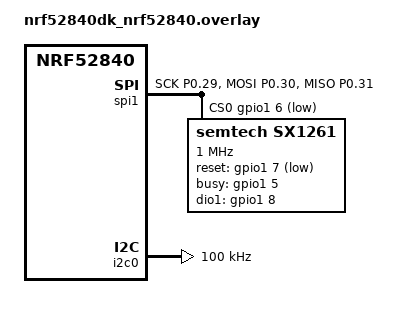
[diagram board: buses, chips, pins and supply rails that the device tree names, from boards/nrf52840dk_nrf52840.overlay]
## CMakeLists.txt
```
# This file is part of the MicroPython project, http://micropython.org/
#
# The MIT License (MIT)
#
# Copyright 2020 NXP
#
# Permission is hereby granted, free of charge, to any person obtaining a copy
# of this software and associated documentation files (the "Software"), to deal
# in the Software without restriction, including without limitation the rights
# to use, copy, modify, merge, publish, distribute, sublicense, and/or sell
# copies of the Software, and to permit persons to whom the Software is
# furnished to do so, subject to the following conditions:
#
# The above copyright notice and this permission notice shall be included in
# all copies or substantial portions of the Software.
#
# THE SOFTWARE IS PROVIDED "AS IS", WITHOUT WARRANTY OF ANY KIND, EXPRESS OR
# IMPLIED, INCLUDING BUT NOT LIMITED TO THE WARRANTIES OF MERCHANTABILITY,
# FITNESS FOR A PARTICULAR PURPOSE AND NONINFRINGEMENT. IN NO EVENT SHALL THE
# AUTHORS OR COPYRIGHT HOLDERS BE LIABLE FOR ANY CLAIM, DAMAGES OR OTHER
# LIABILITY, WHETHER IN AN ACTION OF CONTRACT, TORT OR OTHERWISE, ARISING FROM,
# OUT OF OR IN CONNECTION WITH THE SOFTWARE OR THE USE OR OTHER DEALINGS IN
# THE SOFTWARE.

cmake_minimum_required(VERSION 3.20.0)

find_package(Zephyr REQUIRED HINTS $ENV{ZEPHYR_BASE})
project(micropython)

set(MICROPY_PORT_DIR    ${CMAKE_CURRENT_SOURCE_DIR})
set(MICROPY_DIR         ${MICROPY_PORT_DIR}/../..)
set(MICROPY_TARGET      micropython)

message(MICROPY_PORT_DIR="${CMAKE_CURRENT_SOURCE_DIR}")
message(MICROPY_DIR="${MICROPY_DIR}")
message(ZEPHYR_BASE="$ENV{ZEPHYR_BASE}")
message(CMAKE_CURRENT_BINARY_DIR="${CMAKE_CURRENT_BINARY_DIR}")

include(${MICROPY_DIR}/py/py.cmake)
include(${MICROPY_DIR}/extmod/extmod.cmake)

set(MICROPY_SOURCE_PORT
    main.c
    help.c
    machine_i2c.c
    machine_spi.c
    machine_pin.c
    modbluetooth_zephyr.c
    modsocket.c
    modzephyr.c
    modzsensor.c
    mphalport.c
    uart_core.c
    zephyr_device.c
    zephyr_storage.c
    mpthreadport.c
)
list(TRANSFORM MICROPY_SOURCE_PORT PREPEND ${MICROPY_PORT_DIR}/)

set(MICROPY_SOURCE_SHARED
    libc/printf.c
    readline/readline.c
    runtime/gchelper_generic.c
    runtime/interrupt_char.c
    runtime/mpirq.c
    runtime/pyexec.c
    runtime/stdout_helpers.c
    timeutils/timeutils.c
)
list(TRANSFORM MICROPY_SOURCE_SHARED PREPEND ${MICROPY_DIR}/shared/)

set(MICROPY_SOURCE_LIB
    oofatfs/ff.c
    oofatfs/ffunicode.c
    littlefs/lfs1.c
    littlefs/lfs1_util.c
    littlefs/lfs2.c
    littlefs/lfs2_util.c
)
list(TRANSFORM MICROPY_SOURCE_LIB PREPEND ${MICROPY_DIR}/lib/)

set(MICROPY_SOURCE_QSTR
    ${MICROPY_SOURCE_PY}
    ${MICROPY_SOURCE_EXTMOD}
    ${MICROPY_SOURCE_SHARED}
    ${MICROPY_SOURCE_LIB}
    ${MICROPY_SOURCE_PORT}
)

zephyr_get_include_directories_for_lang(C includes)
zephyr_get_system_include_directories_for_lang(C system_includes)
zephyr_get_compile_definitions_for_lang(C definitions)
zephyr_get_compile_options_for_lang(C options)

zephyr_library_named(${MICROPY_TARGET})

zephyr_library_include_directories(
    ${MICROPY_INC_CORE}
    ${MICROPY_PORT_DIR}
    ${CMAKE_CURRENT_BINARY_DIR}
    ${CMAKE_CURRENT_BINARY_DIR}/zephyr/include/generated
    ../../generated
)

zephyr_include_directories(
    ${CMAKE_CURRENT_BINARY_DIR}/zephyr/include/generated
    ../../generated
)

set(MICROPY_CPP_FLAGS_EXTRA ${includes} ${system_includes} ${definitions} ${options} ${zephyr_include_directories})

zephyr_library_compile_options(
    -std=gnu99 -fomit-frame-pointer
)

zephyr_library_compile_definitions(
    NDEBUG
    MP_CONFIGFILE=<${CONFIG_MICROPY_CONFIGFILE}>
    MICROPY_HEAP_SIZE=${CONFIG_MICROPY_HEAP_SIZE}
    FFCONF_H=\"${MICROPY_OOFATFS_DIR}/ffconf.h\"
    MICROPY_VFS_FAT=$<BOOL:${CONFIG_MICROPY_VFS_FAT}>
    MICROPY_VFS_LFS1=$<BOOL:${CONFIG_MICROPY_VFS_LFS1}>
    MICROPY_VFS_LFS2=$<BOOL:${CONFIG_MICROPY_VFS_LFS2}>
)

zephyr_library_sources(${MICROPY_SOURCE_QSTR})
zephyr_library_link_libraries(kernel)

add_dependencies(${MICROPY_TARGET} 
    zephyr_interface
    zephyr_generated_headers
)

# Save the manifest file set from the cmake command line.
set(MICROPY_USER_FROZEN_MANIFEST ${MICROPY_FROZEN_MANIFEST})

# Set the frozen manifest file. Note if MICROPY_FROZEN_MANIFEST is set from the cmake
# command line, then it will override the default and any manifest set by the board.
if (MICROPY_USER_FROZEN_MANIFEST)
    set(MICROPY_FROZEN_MANIFEST ${MICROPY_USER_FROZEN_MANIFEST})
elseif (NOT MICROPY_FROZEN_MANIFEST)
    set(MICROPY_FROZEN_MANIFEST ${CMAKE_CURRENT_LIST_DIR}/boards/manifest.py)
endif()

include(${MICROPY_DIR}/py/mkrules.cmake)

add_dependencies(${BUILD_FROZEN_CONTENT} zephyr_generated_headers)

target_sources(app PRIVATE
    src/zephyr_start.c
    src/zephyr_getchar.c
)

target_link_libraries(app PRIVATE ${MICROPY_TARGET})
```

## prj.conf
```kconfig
CONFIG_BUILD_OUTPUT_BIN=y
CONFIG_BUILD_OUTPUT_HEX=y
CONFIG_REBOOT=y

CONFIG_STDOUT_CONSOLE=y
CONFIG_CONSOLE_HANDLER=y
CONFIG_UART_CONSOLE_DEBUG_SERVER_HOOKS=y

CONFIG_CONSOLE_SUBSYS=y
CONFIG_CONSOLE_GETCHAR=y
CONFIG_CONSOLE_GETCHAR_BUFSIZE=258
CONFIG_CONSOLE_PUTCHAR_BUFSIZE=128

CONFIG_NEWLIB_LIBC=y
CONFIG_FPU=y
CONFIG_MAIN_STACK_SIZE=4736
CONFIG_POLL=y

CONFIG_DEVICE_DT_METADATA=y

# Enable sensor subsystem (doesn't add code if not used).
# Specific sensors should be enabled per-board.
CONFIG_SENSOR=y

# Networking config
CONFIG_NETWORKING=y
CONFIG_NET_IPV4=y
CONFIG_NET_IPV6=y
CONFIG_NET_UDP=y
CONFIG_NET_TCP=y
CONFIG_NET_SOCKETS=y
CONFIG_NET_SOCKETS_POSIX_NAMES=n
CONFIG_TEST_RANDOM_GENERATOR=y

CONFIG_NET_CONFIG_SETTINGS=y
CONFIG_NET_CONFIG_INIT_TIMEOUT=3
CONFIG_NET_CONFIG_NEED_IPV6=y
CONFIG_NET_CONFIG_NEED_IPV4=y

# DNS
CONFIG_DNS_RESOLVER=y
CONFIG_DNS_RESOLVER_ADDITIONAL_QUERIES=2
CONFIG_DNS_SERVER_IP_ADDRESSES=y

# Static IP addresses
CONFIG_NET_CONFIG_MY_IPV6_ADDR="2001:db8::1"
CONFIG_NET_CONFIG_MY_IPV4_ADDR="192.0.2.1"
CONFIG_NET_CONFIG_MY_IPV4_GW="192.0.2.2"
CONFIG_DNS_SERVER1="192.0.2.2"

# DHCP configuration. Until DHCP address is assigned,
# static configuration above is used instead.
CONFIG_NET_DHCPV4=y

# Diagnostics and debugging

# Required for zephyr.stack_analyze()
CONFIG_THREAD_ANALYZER=y
CONFIG_THREAD_ANALYZER_USE_PRINTK=y
CONFIG_THREAD_NAME=y

# Required for socket.pkt_get_info()
CONFIG_NET_BUF_POOL_USAGE=y

# Required for zephyr.shell_exec()
#CONFIG_SHELL=y
#CONFIG_SHELL_BACKEND_SERIAL_INTERRUPT_DRIVEN=n

# Required for zephyr.shell_exec("net iface")
#CONFIG_NET_SHELL=y

# Uncomment to enable "INFO" level net_buf logging
#CONFIG_NET_LOG=y
#CONFIG_NET_DEBUG_NET_BUF=y
# Change to 4 for "DEBUG" level
#CONFIG_SYS_LOG_NET_LEVEL=3

# MicroPython options
CONFIG_MICROPY_CONFIGFILE="mpconfigport.h"
CONFIG_MICROPY_VFS_FAT=y
CONFIG_MICROPY_VFS_LFS2=y

CONFIG_FLASH=y
CONFIG_FLASH_PAGE_LAYOUT=y
CONFIG_NVS=y
CONFIG_MPU_ALLOW_FLASH_WRITE=y
```

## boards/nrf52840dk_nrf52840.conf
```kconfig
CONFIG_NETWORKING=n
CONFIG_BT=y
CONFIG_BT_DEVICE_NAME_DYNAMIC=y
CONFIG_BT_GATT_DYNAMIC_DB=y
CONFIG_BT_PERIPHERAL=y
CONFIG_BT_CENTRAL=y
CONFIG_BT_GATT_CLIENT=y
CONFIG_BT_L2CAP_TX_MTU=252
CONFIG_BT_BUF_ACL_RX_SIZE=256
CONFIG_BT_GATT_ENFORCE_SUBSCRIPTION=n

CONFIG_MICROPY_HEAP_SIZE=98304
CONFIG_MAIN_STACK_SIZE=8192

# CONFIG_DYNAMIC_THREAD=y
CONFIG_THREAD_CUSTOM_DATA=y
CONFIG_THREAD_MONITOR=y
CONFIG_THREAD_STACK_INFO=y

CONFIG_MICROPY_FROZEN_MODULES=y
```

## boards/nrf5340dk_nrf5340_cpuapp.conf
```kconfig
CONFIG_NETWORKING=n
CONFIG_BT=y
CONFIG_BT_DEVICE_NAME_DYNAMIC=y
CONFIG_BT_GATT_DYNAMIC_DB=y
CONFIG_BT_PERIPHERAL=y
CONFIG_BT_CENTRAL=y
CONFIG_BT_GATT_CLIENT=y
CONFIG_BT_L2CAP_TX_MTU=252
CONFIG_BT_BUF_ACL_RX_SIZE=256

CONFIG_MICROPY_HEAP_SIZE=98304
CONFIG_MAIN_STACK_SIZE=8192

# CONFIG_DYNAMIC_THREAD=y
CONFIG_THREAD_CUSTOM_DATA=y
CONFIG_THREAD_MONITOR=y
CONFIG_THREAD_STACK_INFO=y
CONFIG_THREAD_NAME=y

CONFIG_TEST_RANDOM_GENERATOR=y
CONFIG_MICROPY_CONFIGFILE="mpconfigport_full.h"

# # Enable Bootloader
# CONFIG_BOOTLOADER_MCUBOOT=y

# # Enable SMP Server
# CONFIG_MCUMGR=y
# CONFIG_MCUMGR_GRP_IMG=y

# # CONFIG_MCUMGR_GRP_IMG dependencies
# CONFIG_FLASH=y
# CONFIG_IMG_MANAGER=y

# # CONFIG_IMG_MANAGER dependencies
# CONFIG_STREAM_FLASH=y

# # CONFIG_MCUMGR dependencies
# CONFIG_NET_BUF=y
# CONFIG_ZCBOR=y

# # Required for CONFIG_IMG_MANAGER
# CONFIG_FLASH_MAP=y

# Enable BLE transfer
CONFIG_BT=y
CONFIG_BT_PERIPHERAL=y

CONFIG_SYSTEM_WORKQUEUE_STACK_SIZE=4096

CONFIG_NEWLIB_LIBC=y
CONFIG_NEWLIB_LIBC_FLOAT_PRINTF=y
CONFIG_CBPRINTF_FP_SUPPORT=y

# LoRaWAN config
CONFIG_LORA_SX126X=y
CONFIG_SPI=y

CONFIG_LORA=y

# Random number generator required for several LoRaWAN services
CONFIG_ENTROPY_GENERATOR=y

# LoRaWAN application layer
CONFIG_LORAWAN=y
CONFIG_LORAMAC_REGION_EU868=y
CONFIG_LORAWAN_NVM_SETTINGS=y

# LoRaWAN services required for FUOTA
CONFIG_LORAWAN_SERVICES=y
CONFIG_LORAWAN_APP_CLOCK_SYNC=y
CONFIG_LORAWAN_REMOTE_MULTICAST=y
CONFIG_LORAWAN_FRAG_TRANSPORT=y

# Flash driver to store firmware image
CONFIG_FLASH=y
CONFIG_FLASH_MAP=y
CONFIG_FLASH_PAGE_LAYOUT=y
CONFIG_STREAM_FLASH=y

# CONFIG_NCS_SAMPLE_MCUMGR_BT_OTA_DFU=y
# CONFIG_NCS_SAMPLE_MCUMGR_BT_OTA_DFU_SPEEDUP=y
```

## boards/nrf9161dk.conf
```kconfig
CONFIG_NETWORKING=n

CONFIG_SPI=y

CONFIG_MICROPY_HEAP_SIZE=65536
CONFIG_MAIN_STACK_SIZE=5120

CONFIG_MICROPY_CONFIGFILE="mpconfigport_rt.h"

CONFIG_NRF_MODEM_LIB=y
CONFIG_NRF_MODEM_LINK_BINARY_DECT_PHY=y
CONFIG_MODEM_ANTENNA=n

CONFIG_HWINFO=y
```

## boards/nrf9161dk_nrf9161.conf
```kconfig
CONFIG_NETWORKING=n

CONFIG_SPI=y

CONFIG_MICROPY_HEAP_SIZE=65536
CONFIG_MAIN_STACK_SIZE=5120

CONFIG_MICROPY_CONFIGFILE="mpconfigport_rt.h"

CONFIG_NRF_MODEM_LIB=y
CONFIG_NRF_MODEM_LINK_BINARY_DECT_PHY=y
CONFIG_MODEM_ANTENNA=n
```

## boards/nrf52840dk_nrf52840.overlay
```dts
/ {
	aliases {
		lora0 = &lora;
	};
};

&pinctrl {
	spi1_sleep: spi1_sleep {
		group1 {
			psels = <NRF_PSEL(SPIM_SCK, 0, 29)>,
					<NRF_PSEL(SPIM_MOSI, 0, 30)>,
					<NRF_PSEL(SPIM_MISO, 0, 31)>;
			low-power-enable;
		};
	};
	spi1_default: spi1_default {
		group1 {
			psels = <NRF_PSEL(SPIM_SCK, 0, 29)>,
					<NRF_PSEL(SPIM_MOSI, 0, 30)>,
					<NRF_PSEL(SPIM_MISO, 0, 31)>;
		};
	};

	i2c0_default: i2c0_default {
		group1 {
			psels = <NRF_PSEL(TWIM_SDA, 0, 26)>,
					<NRF_PSEL(TWIM_SCL, 0, 27)>;
		};
	};

	i2c0_sleep: i2c0_sleep {
		group1 {
			psels = <NRF_PSEL(TWIM_SDA, 0, 26)>,
					<NRF_PSEL(TWIM_SCL, 0, 27)>;
			low-power-enable;
		};
	};
};

&spi1 {
	compatible = "nordic,nrf-spi";
	status = "okay";
	cs-gpios = <&gpio1 6 GPIO_ACTIVE_LOW>;
	pinctrl-0 = <&spi1_default>;
	pinctrl-1 = <&spi1_sleep>;
	pinctrl-names = "default", "sleep";
	lora: sx1261@0 {
		compatible = "semtech,sx1261";
		reg = <0>;
		label = "sx1261";
		reset-gpios = <&gpio1 7 GPIO_ACTIVE_LOW>;
		busy-gpios = <&gpio1 5 GPIO_ACTIVE_HIGH>;
		dio1-gpios = <&gpio1 8 (GPIO_PULL_DOWN | GPIO_ACTIVE_HIGH)>;
		spi-max-frequency = <1000000>;
		dio2-tx-enable;
	};
};

&i2c0 {
	clock-frequency = <I2C_BITRATE_STANDARD>;
};
```

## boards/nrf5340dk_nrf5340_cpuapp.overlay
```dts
/ {
	aliases {
		lora0 = &lora;
	};
};

&pinctrl {
	spi1_sleep: spi1_sleep {
		group1 {
			psels = <NRF_PSEL(SPIM_SCK, 0, 7)>,
					<NRF_PSEL(SPIM_MOSI, 0, 25)>,
					<NRF_PSEL(SPIM_MISO, 0, 26)>;
			low-power-enable;
		};
	};
	spi1_default: spi1_default {
		group1 {
			psels = <NRF_PSEL(SPIM_SCK, 0, 7)>,
					<NRF_PSEL(SPIM_MOSI, 0, 25)>,
					<NRF_PSEL(SPIM_MISO, 0, 26)>;
		};
	};
};

&spi1 {
	compatible = "nordic,nrf-spim";
	status = "okay";
	cs-gpios = <&gpio1 7 GPIO_ACTIVE_LOW>;
	pinctrl-0 = <&spi1_default>;
	pinctrl-1 = <&spi1_sleep>;
	pinctrl-names = "default", "sleep";
	lora: sx1261@0 {
		compatible = "semtech,sx1261";
		reg = <0>;
		label = "sx1261";
		reset-gpios = <&gpio1 8 GPIO_ACTIVE_LOW>;
		busy-gpios = <&gpio1 6 GPIO_ACTIVE_HIGH>;
		dio1-gpios = <&gpio1 9 (GPIO_PULL_DOWN | GPIO_ACTIVE_HIGH)>;
		spi-max-frequency = <1000000>;
		dio2-tx-enable;
	};
};
```

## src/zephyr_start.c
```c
/*
 * This file is part of the MicroPython project, http://micropython.org/
 *
 * The MIT License (MIT)
 *
 * Copyright (c) 2016 Linaro Limited
 *
 * Permission is hereby granted, free of charge, to any person obtaining a copy
 * of this software and associated documentation files (the "Software"), to deal
 * in the Software without restriction, including without limitation the rights
 * to use, copy, modify, merge, publish, distribute, sublicense, and/or sell
 * copies of the Software, and to permit persons to whom the Software is
 * furnished to do so, subject to the following conditions:
 *
 * The above copyright notice and this permission notice shall be included in
 * all copies or substantial portions of the Software.
 *
 * THE SOFTWARE IS PROVIDED "AS IS", WITHOUT WARRANTY OF ANY KIND, EXPRESS OR
 * IMPLIED, INCLUDING BUT NOT LIMITED TO THE WARRANTIES OF MERCHANTABILITY,
 * FITNESS FOR A PARTICULAR PURPOSE AND NONINFRINGEMENT. IN NO EVENT SHALL THE
 * AUTHORS OR COPYRIGHT HOLDERS BE LIABLE FOR ANY CLAIM, DAMAGES OR OTHER
 * LIABILITY, WHETHER IN AN ACTION OF CONTRACT, TORT OR OTHERWISE, ARISING FROM,
 * OUT OF OR IN CONNECTION WITH THE SOFTWARE OR THE USE OR OTHER DEALINGS IN
 * THE SOFTWARE.
 */
#include <zephyr/kernel.h>
#include <zephyr/console/console.h>
#include "zephyr_getchar.h"

int real_main(void);

int main(void) {
    #ifdef CONFIG_CONSOLE_SUBSYS
    console_init();
    #else
    zephyr_getchar_init();
    #endif
    real_main();

    // This is needed so the linker includes k_timer_init, z_impl_k_timer_start
    // and z_impl_k_timer_stop, as used by libmicropython.a.
    k_timer_start(NULL, K_MSEC(0), K_MSEC(0));
}
```
